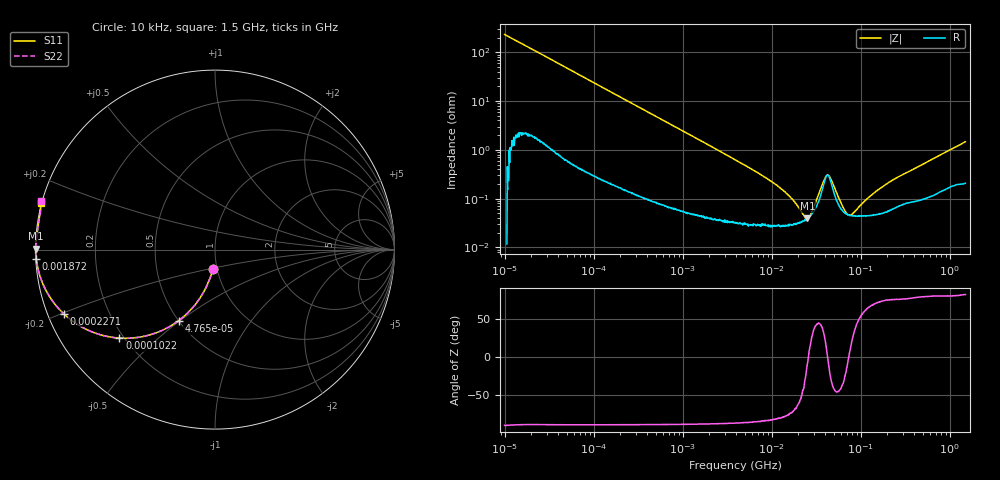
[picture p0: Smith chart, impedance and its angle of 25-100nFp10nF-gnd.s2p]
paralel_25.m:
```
clear all
close all
clc

%% Load data
sparam = sparameters('mereni/25-100nFp10nF-gnd.s2p');

Z0 = sparam.Impedance;
f=sparam.Frequencies;
s_params = sparam.Parameters;

abcd_params = s2abcd(s_params, Z0);

C_param = 1./reshape(abcd_params(2,1,:), [],1);

%% Fit
Cx1 = 1.1e-8;
Lx1 = 5e-10;
Rx1 = 0.04;

ZL1 = Rx1 + 1i*((2 * pi() * f * Lx1) - (1./(2*pi()*f*Cx1)));

Cx2 = 1e-7;
Lx2 = 4e-10;
Rx2 = 0.04;

ZL2 = Rx2 + 1i*((2 * pi() * f * Lx2) - (1./(2*pi()*f*Cx2)));

ZL_fit = 1./(1./ZL1 + 1./ZL2);

%% Plot
fig = figure('Name','Impedance','NumberTitle','off');
loglog(f/1e9,abs(C_param)/1e3,  'r', f/1e9,abs(ZL_fit)/1e3,'b')
legend('ZNB','Model','Location', 'Best')
xlabel('f [GHz]'), ylabel('|Z| [k\Omega]')
grid on
saveas(fig, 'res/25.png')

%% Res freq
```
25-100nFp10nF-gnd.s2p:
#  HZ  S  DB  R  50.00
! Rohde & Schwarz Vector Network Analyzer
! Rohde-Schwarz,ZNB8-4Port,1334333044101560,3.32
! Created: UTC 3/21/2023, 5:24:06 PM
! freq[Hz]  db:S11  ang:S11  db:S41  ang:S41  db:S14  ang:S14  db:S44  ang:S44
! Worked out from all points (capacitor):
!   1001 points, 10 kHz to 1.5 GHz, reference 50 ohm
!   read as one part in shunt: C = 68.4 nF near 10.61 kHz
!   lowest |Z| = 39.3 mohm at 25.16 MHz (marker M1)
!   series resonance near 25.87 MHz, so ESL is about 550 pH
!   S11 on the Smith chart (normalised r, x): 10 kHz: 0.96, -0.21; 47.65 kHz: 0.50, -0.49; 102.2 kHz: 0.18, -0.38; 227.1 kHz: 0.05, -0.20; 1.872 MHz: 0.00, -0.03; 1.5 GHz: -0.00, +0.13
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10000  -19.29 -96.0  -0.06 -6.1  -0.05 -6.1  -19.31 -95.7
47650.55  -7.02 -117.1  -1.02 -26.4  -1.02 -26.4  -7.03 -117.1
102173.4  -2.79 -137.2  -3.36 -46.5  -3.36 -46.5  -2.79 -137.2
227057.5  -0.76 -157.1  -8.19 -66.3  -8.19 -66.3  -0.76 -157.1
1871992  -0.02 -177.0  -25.59 -85.2  -25.59 -85.3  -0.02 -177.0
3872983  -0.01 -178.6  -31.95 -85.6  -31.95 -85.7  -0.01 -178.6
2.515892e7  -0.01 179.7  -56.08 -9.3  -55.89 -12.1  -0.01 179.8
4.200141e7  -0.10 179.5  -38.41 3.2  -38.41 3.3  -0.11 179.5
7.621991e7  -0.01 179.1  -54.67 8.4  -54.76 10.1  -0.01 179.2
2.124283e8  -0.02 177.1  -41.08 72.0  -41.08 72.1  -0.02 177.2
1.5e9  0.06 164.9  -24.71 66.5  -24.57 66.5  0.04 164.3
